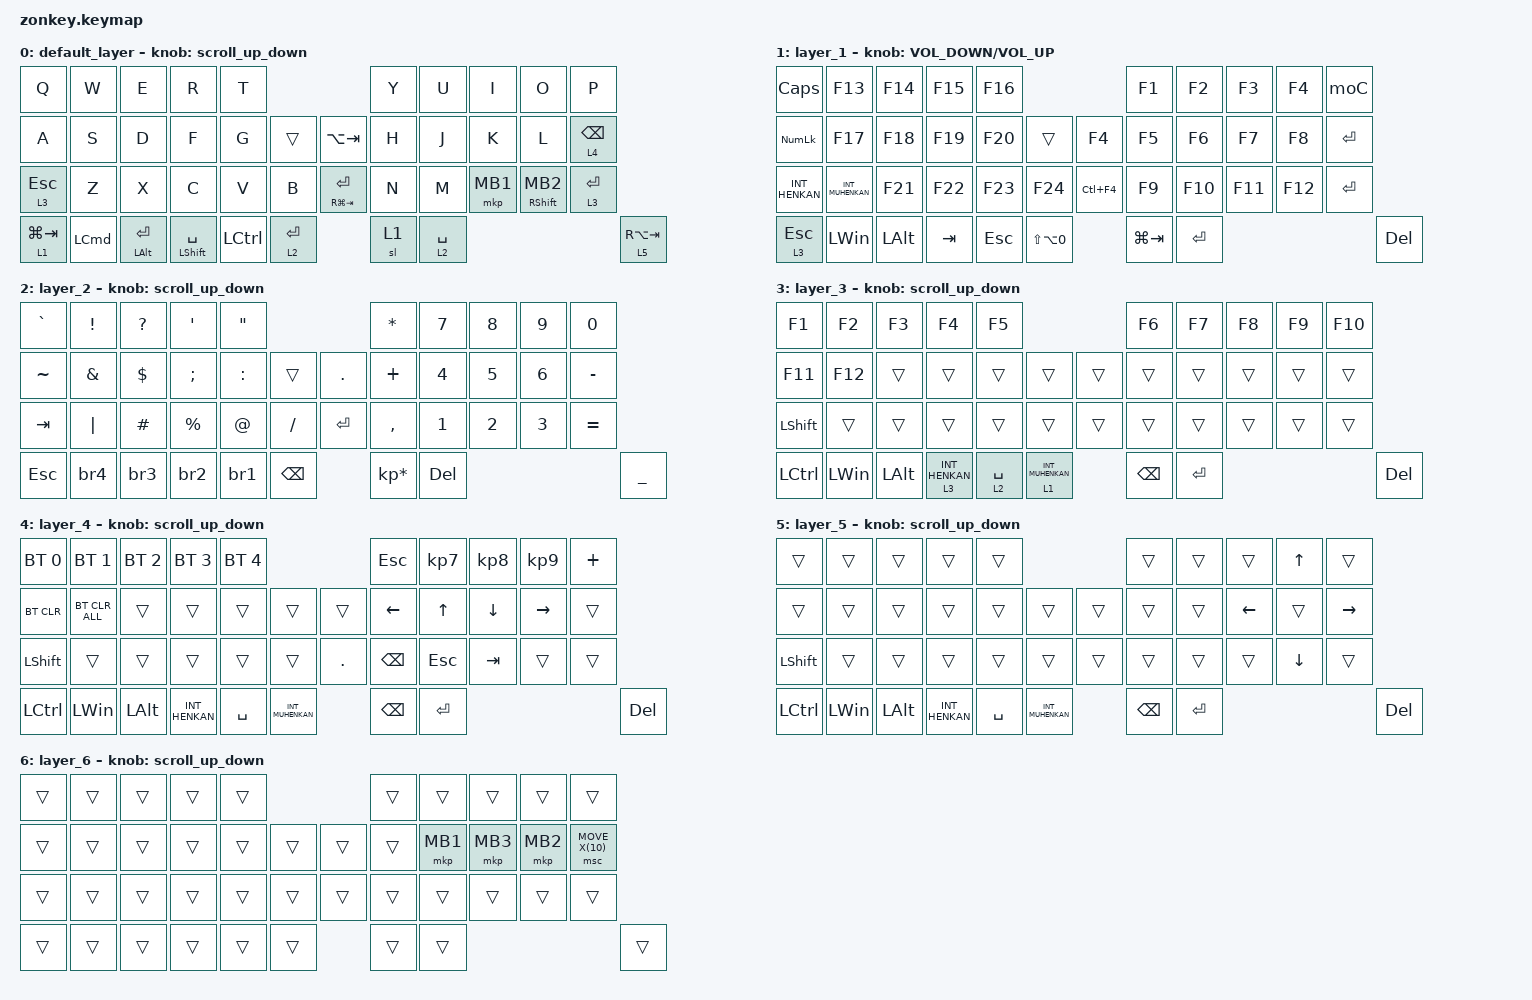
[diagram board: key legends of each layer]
#include <behaviors.dtsi>
#include <dt-bindings/zmk/bt.h>
#include <dt-bindings/zmk/keys.h>
#include <dt-bindings/zmk/pointing.h>

#define ZMK_POINTING_DEFAULT_SCRL_VAL 100
#define MOUSE 6
#define JP_DQUOTE       AT                // "
#define JP_AMPERSAND    CARET             // &
#define JP_QUOTE        AMPERSAND         // '
#define JP_EQUAL        UNDER             // =
#define JP_CARET        EQUAL             // ^
#define JP_YEN          0x89              // ¥
#define JP_PLUS         COLON             // +
#define JP_TILDE        PLUS              // ~
#define JP_PIPE         LS(0x89)          // |
#define JP_AT           LEFT_BRACKET      // @
#define JP_COLON        SINGLE_QUOTE      // :
#define JP_ASTERISK     DOUBLE_QUOTES     // *
#define JP_BACKQUOTE    LEFT_BRACE        // `
#define JP_UNDERSCORE   LS(0x87)          // _
#define JP_LBRACKET     RIGHT_BRACKET     // [
#define JP_RBRACKET     BACKSLASH         // ]
#define JP_LPAREN       ASTERISK          // (
#define JP_RPAREN       LEFT_PARENTHESIS  // )
#define JP_LBRACE       RIGHT_BRACE       // {
#define JP_RBRACE       PIPE              // }
#define JP_KANA         LANGUAGE_1        // かな
#define JP_EISU         LANGUAGE_2        // 英数
#define JP_HANZEN       GRAVE             // 半角/全角
#define JP_BSLH  INT1         // (backslash)

&mt {
    flavor = "balanced";
    quick-tap-ms = <0>;
};

/ {
    combos {
        compatible = "zmk,combos";

        Tab {
            bindings = <&kp TAB>;
            key-positions = <1 2>;
        };

        Esc {
            bindings = <&kp ESC>;
            key-positions = <11 12>;
        };

        Bs {
            bindings = <&kp BACKSPACE>;
            key-positions = <7 8>;
        };

        Ret {
            bindings = <&kp RET>;
            key-positions = <19 20>;
        };

        F4p {
            bindings = <&kp F4>;
            key-positions = <6 7>;
        };

        F4pp {
            bindings = <&kp LC(F4)>;
            key-positions = <6 8>;
        };

        sl_1 {
            bindings = <&sl 1>;
            key-positions = <24 25>;
        };
    };

    mo2: mo2 {
        compatible = "zmk,behavior-mod-morph";
        #binding-cells = <0>;
        bindings = <&kp N2>, <&kp AT>;

        mods = <(MOD_LSFT|MOD_RSFT)>;
    };

    mo6: mo6 {
        compatible = "zmk,behavior-mod-morph";
        #binding-cells = <0>;
        bindings = <&kp N6>, <&kp CARET>;

        mods = <(MOD_LSFT|MOD_RSFT)>;
    };

    mo7: mo7 {
        compatible = "zmk,behavior-mod-morph";
        #binding-cells = <0>;
        bindings = <&kp N7>, <&kp AMPS>;

        mods = <(MOD_LSFT|MOD_RSFT)>;
    };

    mo8: mo8 {
        compatible = "zmk,behavior-mod-morph";
        #binding-cells = <0>;
        bindings = <&kp N8>, <&kp ASTRK>;

        mods = <(MOD_LSFT|MOD_RSFT)>;
    };

    mo9: mo9 {
        compatible = "zmk,behavior-mod-morph";
        #binding-cells = <0>;
        bindings = <&kp N9>, <&kp LPAR>;

        mods = <(MOD_LSFT|MOD_RSFT)>;
    };

    mo0: mo0 {
        compatible = "zmk,behavior-mod-morph";
        #binding-cells = <0>;
        bindings = <&kp N0>, <&kp LS(N9)>;

        mods = <(MOD_LSFT|MOD_RSFT)>;
    };

    moA: moA {
        compatible = "zmk,behavior-mod-morph";
        #binding-cells = <0>;
        bindings = <&kp MINUS>, <&kp UNDERSCORE>;

        mods = <(MOD_LSFT|MOD_RSFT)>;
    };

    moB: moB {
        compatible = "zmk,behavior-mod-morph";
        #binding-cells = <0>;
        bindings = <&kp EQUAL>, <&kp PLUS>;

        mods = <(MOD_LSFT|MOD_RSFT)>;
    };

    moC: moC {
        compatible = "zmk,behavior-mod-morph";
        #binding-cells = <0>;
        bindings = <&kp INT3>, <&kp JP_PIPE>;

        mods = <(MOD_LSFT|MOD_RSFT)>;
    };

    moD: moD {
        compatible = "zmk,behavior-mod-morph";
        #binding-cells = <0>;
        bindings = <&kp LBKT>, <&kp LBRC>;

        mods = <(MOD_LSFT|MOD_RSFT)>;
    };

    moE: moE {
        compatible = "zmk,behavior-mod-morph";
        #binding-cells = <0>;
        bindings = <&kp RBKT>, <&kp RBRC>;

        mods = <(MOD_LSFT|MOD_RSFT)>;
    };

    moF: moF {
        compatible = "zmk,behavior-mod-morph";
        #binding-cells = <0>;
        bindings = <&kp SEMI>, <&kp KP_PLUS>;

        mods = <(MOD_LSFT|MOD_RSFT)>;
    };

    moG: moG {
        compatible = "zmk,behavior-mod-morph";
        #binding-cells = <0>;
        bindings = <&kp APOSTROPHE>, <&kp DQT>;

        mods = <(MOD_LSFT|MOD_RSFT)>;
    };

    moH: moH {
        compatible = "zmk,behavior-mod-morph";
        #binding-cells = <0>;
        bindings = <&kp BACKSLASH>, <&kp TILDE2>;

        mods = <(MOD_LSFT|MOD_RSFT)>;
    };

    moI: moI {
        compatible = "zmk,behavior-mod-morph";
        #binding-cells = <0>;
        bindings = <&kp JP_BSLH>, <&kp JP_UNDERSCORE>;

        mods = <(MOD_LSFT|MOD_RSFT)>;
    };

    macros {
        to_layer_0: to_layer_0 {
            compatible = "zmk,behavior-macro-one-param";
            #binding-cells = <1>;
            bindings = <&to 0 &macro_param_1to1 &kp MACRO_PLACEHOLDER>;
            label = "TO_LAYER_0";
        };

        br1: new_macro {
            compatible = "zmk,behavior-macro";
            #binding-cells = <0>;
            bindings = <&kp LEFT_PARENTHESIS &kp RIGHT_PARENTHESIS &kp LEFT_ARROW>;
            label = "NEW_MACRO";
        };

        br2: br2 {
            compatible = "zmk,behavior-macro";
            #binding-cells = <0>;
            bindings = <&kp LEFT_BRACKET &kp RIGHT_BRACKET &kp LEFT>;
            label = "BR2";
        };

        br3: br3 {
            compatible = "zmk,behavior-macro";
            #binding-cells = <0>;
            bindings = <&kp LEFT_BRACE &kp RIGHT_BRACE &kp LEFT>;
            label = "BR3";
        };

        br4: br4 {
            compatible = "zmk,behavior-macro";
            #binding-cells = <0>;
            bindings = <&kp LESS_THAN &kp GREATER_THAN &kp LEFT>;
            label = "BR4";
        };
    };

    behaviors {
        lt_to_layer_0: lt_to_layer_0 {
            compatible = "zmk,behavior-hold-tap";
            label = "LAYER_TAP_TO_0";
            bindings = <&mo>, <&to_layer_0>;

            #binding-cells = <2>;
            tapping-term-ms = <200>;
        };

        scroll_up_down: behavior_sensor_rotate_mouse_wheel_up_down {
            compatible = "zmk,behavior-sensor-rotate";
            #sensor-binding-cells = <0>;
            bindings = <&msc SCRL_DOWN>, <&msc SCRL_UP>;

            tap-ms = <20>;
        };

        lt_mouse_layer: lt_mouse_layer {
            compatible = "zmk,behavior-hold-tap";
            label = "LAYER_TAP_MOUSE";
            bindings = <&kp>, <&mkp>;

            #binding-cells = <2>;
            tapping-term-ms = <200>;
        };

        sl_kp: stick_kp {
            compatible = "zmk,behavior-hold-tap";
            label = "sl_kp";
            bindings = <&kp>, <&sl>;

            #binding-cells = <2>;
            tapping-term-ms = <200>;
        };
    };

    keymap {
        compatible = "zmk,keymap";

        default_layer {
            // -----------------------------------------------------------------------------------------
            // |  Q  |  W  |  E  |  R  |  T  |                        |  Y  |  U   |  I  |  O  |  P  | 
            // |  A  |  S  |  D  |  F  |  G  |LS(LG(S))|        　 | - |  H  |  J   |  K  |  L  |  `  | 
            // |SHIFT|  Z  |  X  |  C  |  V  |  B  |           | B |  N  |  M   |  ,  |  .  |  /  | 
            // | CTRL | WIN | ALT |HENKAN|SPACE|MUHENKAN|       | BS | ENT |      　　　　       | DEL |           

            bindings = <
&kp Q                 &kp W             &kp E             &kp R            &kp T                                        &kp Y  &kp U        &kp I     &kp O                      &kp P
&kp A                 &kp S             &kp D             &kp F            &kp G      &trans         &kp LA(TAB)        &kp H  &kp J        &kp K     &kp L                      &lt 4 BACKSPACE
&lt_to_layer_0 3 ESC  &kp Z             &kp X             &kp C            &kp V      &kp B          &mt RG(TAB) ENTER  &kp N  &kp M        &mkp MB1  &lt_mouse_layer RSHFT MB2  &lt 3 ENTER
&lt 1 LG(TAB)         &kp LEFT_COMMAND  &mt LEFT_ALT RET  &mt LSHFT SPACE  &kp LCTRL  &lt 2 ENTER                       &sl 1  &lt 2 SPACE                                                        &lt 5 RA(TAB)
            >;

            sensor-bindings = <&scroll_up_down>;
        };

        layer_1 {
            // -----------------------------------------------------------------------------------------
            // |CAPS　| 　　|     |     |                    　　　　　　 |     |     |  -  |  ^  |  ¥  |
            // | TAB |     |     |     |     |     |              |    |     |     |     |  @  |  [  |
            // |SHIFT|     |     |     |     |     |           　 | 英数 | かな |    |  ; |  :  |  ]  |
            // | CTRL| WIN | ALT |HENKAN|SPACE|MUHENKAN|         | BS | ENT |                   | DEL |

            bindings = <
&kp CAPSLOCK    &kp F13           &kp F14       &kp F15  &kp F16                                &kp F1       &kp F2     &kp F3   &kp F4   &moC
&kp KP_NUM      &kp F17           &kp F18       &kp F19  &kp F20  &trans            &kp F4      &kp F5       &kp F6     &kp F7   &kp F8   &kp ENTER
&kp INT_HENKAN  &kp INT_MUHENKAN  &kp F21       &kp F22  &kp F23  &kp F24           &kp LC(F4)  &kp F9       &kp F10    &kp F11  &kp F12  &kp ENTER
&lt 3 ESC       &kp LEFT_WIN      &kp LEFT_ALT  &kp TAB  &kp ESC  &kp LS(LA(N0))                &kp LG(TAB)  &kp ENTER                               &kp DEL
            >;

            sensor-bindings = <&inc_dec_kp C_VOLUME_DOWN C_VOLUME_UP>;
        };

        layer_2 {
            // -----------------------------------------------------------------------------------------
            // |  1  |  2  |  3  |  4  |  5  |                     |  6  |  7  |  8  |  9  |   0  |
            // |      |     |     |     |     |     |           |    |     |     |     |  ↑  |      |
            // |SHIFT|     |     |     |     |     |           |     |     |     |  ←  |  ↓  |  →  |
            // | CTRL| WIN | ALT |HENKAN|SPACE|MUHENKAN|         | BS | ENT |                   | DEL |

            bindings = <
&kp GRAVE  &kp EXCLAMATION  &kp QUESTION  &kp SQT        &kp DOUBLE_QUOTES                               &kp ASTRK        &kp N7        &kp N8        &kp N9        &kp N0
&kp TILDE  &kp AMPERSAND    &kp DOLLAR    &kp SEMICOLON  &kp COLON          &trans           &kp PERIOD  &kp PLUS         &kp NUMBER_4  &kp N5        &kp NUMBER_6  &kp MINUS
&kp TAB    &kp PIPE         &kp HASH      &kp PERCENT    &kp AT_SIGN        &kp SLASH        &kp RET     &kp COMMA        &kp NUMBER_1  &kp NUMBER_2  &kp NUMBER_3  &kp EQUAL
&kp ESC    &br4             &br3          &br2           &br1               &kp BACKSPACE                &kp KP_ASTERISK  &kp DEL                                              &kp UNDERSCORE
            >;

            sensor-bindings = <&scroll_up_down>;
        };

        layer_3 {
            // -----------------------------------------------------------------------------------------
            // | F1  | F2  | F3  | F4  | F5  |                     | F6  | F7 | F8  | F9 | F10 |
            // | F11 | F12 |     |     |     |     |           |    |     |     |     |     |      |
            // |SHIFT|     |     |     |     |     |           |     |     |     |     |     |      |
            // | CTRL| WIN | ALT |HENKAN|SPACE|MUHENKAN|         | BS | ENT |                   | DEL |

            bindings = <
&kp F1          &kp F2        &kp F3        &kp F4            &kp F5                                     &kp F6         &kp F7     &kp F8  &kp F9  &kp F10
&kp F11         &kp F12       &trans        &trans            &trans       &trans                &trans  &trans         &trans     &trans  &trans  &trans
&kp LEFT_SHIFT  &trans        &trans        &trans            &trans       &trans                &trans  &trans         &trans     &trans  &trans  &trans
&kp LCTRL       &kp LEFT_WIN  &kp LEFT_ALT  &lt 3 INT_HENKAN  &lt 2 SPACE  &lt 1 INT_MUHENKAN            &kp BACKSPACE  &kp ENTER                           &kp DEL
            >;

            sensor-bindings = <&scroll_up_down>;
        };

        layer_4 {
            // -----------------------------------------------------------------------------------------
            // | BT0 | BT1 | BT2 | BT3 | BT4 |                        |  -  |  7  |  8  |  9  |  +  |
            // |BTCLR |     |     |     |     |     |                 |  /  |  4  |  5  |  6  |  *  | 
            // |SHIFT|     |     |     |     |     |           |  .  |  0  |  1  |  2  |   3  |  =  |
            // | CTRL| WIN | ALT |HENKAN|SPACE|MUHENKAN|        | BS | ENT |                  | DEL |

            bindings = <
&bt BT_SEL 0    &bt BT_SEL 1    &bt BT_SEL 2  &bt BT_SEL 3    &bt BT_SEL 4                               &kp ESCAPE      &kp KP_NUMBER_7  &kp KP_NUMBER_8  &kp KP_NUMBER_9  &kp PLUS
&bt BT_CLR      &bt BT_CLR_ALL  &trans        &trans          &trans        &trans              &trans   &kp LEFT_ARROW  &kp UP_ARROW     &kp DOWN         &kp RIGHT        &trans
&kp LEFT_SHIFT  &trans          &trans        &trans          &trans        &trans              &kp DOT  &kp BACKSPACE   &kp ESCAPE       &kp TAB          &trans           &trans
&kp LCTRL       &kp LEFT_WIN    &kp LEFT_ALT  &kp INT_HENKAN  &kp SPACE     &kp INT_MUHENKAN             &kp BACKSPACE   &kp ENTER                                                    &kp DEL
            >;

            sensor-bindings = <&scroll_up_down>;
        };

        layer_5 {
            // -----------------------------------------------------------------------------------------
            // |      |     |     |     |     |                     |     |     |     |     |      |
            // |      |     |     |     |     |     |           |    |     |     |     |     |      |
            // |SHIFT|     |     |     |     |     |          |     |     |     |     |     |      |
            // | CTRL| WIN | ALT |HENKAN|SPACE|MUHENKAN|        | BS | ENT |                  | DEL |

            bindings = <
&trans          &trans        &trans        &trans          &trans                                 &trans         &trans     &trans    &kp UP    &trans
&trans          &trans        &trans        &trans          &trans     &trans              &trans  &trans         &trans     &kp LEFT  &trans    &kp RIGHT
&kp LEFT_SHIFT  &trans        &trans        &trans          &trans     &trans              &trans  &trans         &trans     &trans    &kp DOWN  &trans
&kp LCTRL       &kp LEFT_WIN  &kp LEFT_ALT  &kp INT_HENKAN  &kp SPACE  &kp INT_MUHENKAN            &kp BACKSPACE  &kp ENTER                                 &kp DEL
            >;

            sensor-bindings = <&scroll_up_down>;
        };

        layer_6 {
            bindings = <
&trans  &trans  &trans  &trans  &trans                    &trans  &trans    &trans    &trans    &trans
&trans  &trans  &trans  &trans  &trans  &trans    &trans  &trans  &mkp MB1  &mkp MB3  &mkp MB2  &msc MOVE_X(10)
&trans  &trans  &trans  &trans  &trans  &trans    &trans  &trans  &trans    &trans    &trans    &trans
&trans  &trans  &trans  &trans  &trans  &trans            &trans  &trans                                         &trans
            >;

            sensor-bindings = <&scroll_up_down>;
        };
    };
};
